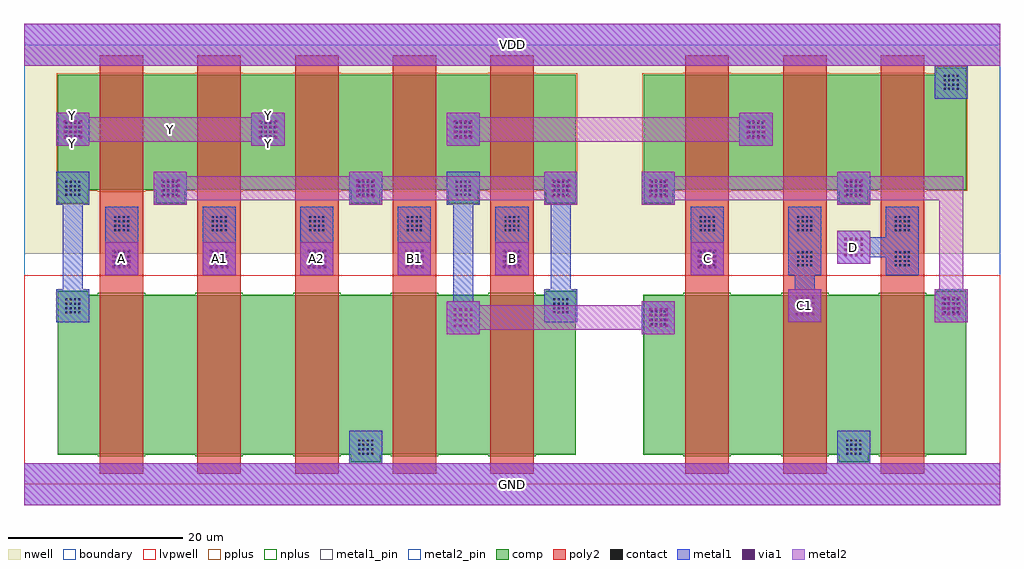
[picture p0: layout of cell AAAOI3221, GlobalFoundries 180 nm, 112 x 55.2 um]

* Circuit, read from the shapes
.subckt AAAOI3221 A A1 A2 B B1 C C1 D GND VDD Y
XM1 n1 A Y VSUBS nfet_03v3 w=18.3u l=5u
XM2 n2 A1 n1 VSUBS nfet_03v3 w=18.3u l=5u
XM3 GND A2 n2 VSUBS nfet_03v3 w=18.3u l=5u
XM4 n3 B1 GND VSUBS nfet_03v3 w=18.3u l=5u
XM5 n4 B n3 VSUBS nfet_03v3 w=18.3u l=5u
XM6 n5 C n6 VSUBS nfet_03v3 w=18.3u l=5u
XM7 GND C1 n5 VSUBS nfet_03v3 w=18.3u l=5u
XM8 n7 D GND VSUBS nfet_03v3 w=18.3u l=5u
XM9 n4 A Y n8 pfet_03v3 w=13.2u l=5u
XM10 Y A1 n4 n8 pfet_03v3 w=13.2u l=5u
XM11 n4 A2 Y n8 pfet_03v3 w=13.2u l=5u
XM12 n6 B1 n4 n8 pfet_03v3 w=13.2u l=5u
XM13 n4 B n6 n8 pfet_03v3 w=13.2u l=5u
XM14 n6 C n7 n8 pfet_03v3 w=13.2u l=5u
XM15 n7 C1 n6 n8 pfet_03v3 w=13.2u l=5u
XM16 VDD D n7 n8 pfet_03v3 w=13.2u l=5u
.ends

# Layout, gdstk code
import gdstk
lib = gdstk.Library(unit=1e-6, precision=1e-09)
def R(c, l, rs):  # rectangles x0, y0, x1, y1
    for r in rs: c.add(gdstk.rectangle(r[:2], r[2:], *l))
def A(c, l, x, y, w, h, nx, ny, dx, dy):  # array of equal rectangles
    R(c, l, [(x+i*dx, y+j*dy, x+i*dx+w, y+j*dy+h) for i in range(nx) for j in range(ny)])
boundary = (0, 0)
nwell = (21, 0)
comp = (22, 0)
poly2 = (30, 0)
pplus = (31, 0)
nplus = (32, 0)
contact = (33, 0)
metal1 = (34, 0)
metal1_pin = (34, 10)
via1 = (35, 0)
metal2 = (36, 0)
metal2_pin = (36, 10)
lvpwell = (204, 0)

aaaoi3221 = lib.new_cell('AAAOI3221')
R(aaaoi3221, boundary, [(0,0,112,50.4)])
R(aaaoi3221, nwell, [(0,26.45,112,50.4)])
A(aaaoi3221, comp, 37.5, 32.25, 3.4, 1.55, 4, 1, 11.2, 0)
R(aaaoi3221, comp, [(37.5,2.55,40.9,3.4), (93.5,2.55,96.9,3.4), (3.9,3.4,63.3,21.7), (71.1,3.4,108.1,21.7), (3.9,21.7,7.3,22.15), (59.9,21.7,63.3,22.15), (104.7,21.7,108.1,22.15), (3.9,32.25,7.3,33.8), (15.1,32.25,18.5,33.8), (93.5,32.25,96.9,33.8), (3.9,33.8,63.3,47), (71.1,33.8,108.1,47), (104.7,47,108.1,47.8)])
A(aaaoi3221, poly2, 8.7, 1.2, 5, 48, 5, 1, 11.2, 0)
A(aaaoi3221, poly2, 75.9, 1.2, 5, 48, 3, 1, 11.2, 0)
A(aaaoi3221, pplus, 37.34, 32.09, 3.72, 1.55, 4, 1, 11.2, 0)
A(aaaoi3221, pplus, 8.47, 33.57, 5.46, 0.07, 5, 2, 11.2, 13.59)
A(aaaoi3221, pplus, 75.67, 33.57, 5.46, 0.07, 3, 2, 11.2, 13.59)
R(aaaoi3221, pplus, [(3.74,32.09,7.46,33.64), (14.94,32.09,18.66,33.64), (93.34,32.09,97.06,33.64), (3.74,33.64,63.46,47.16), (70.94,33.64,108.26,47.16), (104.54,47.16,108.26,47.96)])
A(aaaoi3221, nplus, 8.47, 3.17, 5.46, 0.21, 5, 2, 11.2, 18.55)
A(aaaoi3221, nplus, 75.67, 3.17, 5.46, 0.21, 3, 2, 11.2, 18.55)
R(aaaoi3221, nplus, [(37.48,2.53,40.92,3.38), (93.48,2.53,96.92,3.38), (3.88,3.38,63.32,21.72), (71.08,3.38,108.12,21.72), (3.88,21.72,7.32,22.17), (59.88,21.72,63.32,22.17), (104.68,21.72,108.12,22.17)])
A(aaaoi3221, contact, 38.34, 3.39, 0.22, 0.22, 4, 4, 0.5, 0.5)
A(aaaoi3221, contact, 94.34, 3.39, 0.22, 0.22, 4, 4, 0.5, 0.5)
A(aaaoi3221, contact, 71.94, 18.24, 0.22, 0.22, 4, 4, 0.5, 0.5)
A(aaaoi3221, contact, 4.74, 19.59, 0.22, 0.22, 4, 4, 0.5, 0.5)
A(aaaoi3221, contact, 60.74, 19.59, 0.22, 0.22, 4, 4, 0.5, 0.5)
A(aaaoi3221, contact, 105.54, 19.59, 0.22, 0.22, 4, 4, 0.5, 0.5)
A(aaaoi3221, contact, 10.34, 24.99, 0.22, 0.22, 4, 4, 0.5, 0.5)
A(aaaoi3221, contact, 21.54, 24.99, 0.22, 0.22, 4, 4, 0.5, 0.5)
A(aaaoi3221, contact, 32.74, 24.99, 0.22, 0.22, 4, 4, 0.5, 0.5)
A(aaaoi3221, contact, 43.94, 24.99, 0.22, 0.22, 4, 4, 0.5, 0.5)
A(aaaoi3221, contact, 55.14, 24.99, 0.22, 0.22, 4, 4, 0.5, 0.5)
A(aaaoi3221, contact, 77.54, 24.99, 0.22, 0.22, 4, 4, 0.5, 0.5)
A(aaaoi3221, contact, 88.74, 24.99, 0.22, 0.22, 4, 4, 0.5, 0.5)
A(aaaoi3221, contact, 99.94, 24.99, 0.22, 0.22, 4, 4, 0.5, 0.5)
A(aaaoi3221, contact, 10.34, 29.04, 0.22, 0.22, 4, 4, 0.5, 0.5)
A(aaaoi3221, contact, 21.54, 29.04, 0.22, 0.22, 4, 4, 0.5, 0.5)
A(aaaoi3221, contact, 32.74, 29.04, 0.22, 0.22, 4, 4, 0.5, 0.5)
A(aaaoi3221, contact, 43.94, 29.04, 0.22, 0.22, 4, 4, 0.5, 0.5)
A(aaaoi3221, contact, 55.14, 29.04, 0.22, 0.22, 4, 4, 0.5, 0.5)
A(aaaoi3221, contact, 77.54, 29.04, 0.22, 0.22, 4, 4, 0.5, 0.5)
A(aaaoi3221, contact, 88.74, 29.04, 0.22, 0.22, 4, 4, 0.5, 0.5)
A(aaaoi3221, contact, 99.94, 29.04, 0.22, 0.22, 4, 4, 0.5, 0.5)
A(aaaoi3221, contact, 4.74, 33.09, 0.22, 0.22, 4, 4, 0.5, 0.5)
A(aaaoi3221, contact, 15.94, 33.09, 0.22, 0.22, 4, 4, 0.5, 0.5)
A(aaaoi3221, contact, 38.34, 33.09, 0.22, 0.22, 4, 4, 0.5, 0.5)
A(aaaoi3221, contact, 49.54, 33.09, 0.22, 0.22, 4, 4, 0.5, 0.5)
A(aaaoi3221, contact, 60.74, 33.09, 0.22, 0.22, 4, 4, 0.5, 0.5)
A(aaaoi3221, contact, 71.94, 33.09, 0.22, 0.22, 4, 4, 0.5, 0.5)
A(aaaoi3221, contact, 94.34, 33.09, 0.22, 0.22, 4, 4, 0.5, 0.5)
A(aaaoi3221, contact, 4.74, 39.84, 0.22, 0.22, 4, 4, 0.5, 0.5)
A(aaaoi3221, contact, 27.14, 39.84, 0.22, 0.22, 4, 4, 0.5, 0.5)
A(aaaoi3221, contact, 49.54, 39.84, 0.22, 0.22, 4, 4, 0.5, 0.5)
A(aaaoi3221, contact, 83.14, 39.84, 0.22, 0.22, 4, 4, 0.5, 0.5)
A(aaaoi3221, contact, 105.54, 45.24, 0.22, 0.22, 4, 4, 0.5, 0.5)
A(aaaoi3221, metal1, 9.3, 23.95, 3.8, 7.85, 5, 1, 11.2, 0)
A(aaaoi3221, metal1, 37.3, 32.05, 3.8, 3.8, 4, 1, 11.2, 0)
A(aaaoi3221, metal1, 3.7, 38.8, 3.8, 3.8, 3, 1, 22.4, 0)
R(aaaoi3221, metal1, [(0,-2.4,112,2.4), (37.3,2.4,41.1,6.15), (93.3,2.4,97.1,6.15), (48.5,17.2,52.3,21), (70.9,17.2,74.7,21), (3.7,18.55,7.5,22.35), (59.7,18.55,63.5,22.35), (87.7,18.55,91.5,22.35), (104.5,18.55,108.3,22.35), (49.25,21,51.55,32.05), (4.45,22.35,6.75,32.05), (60.45,22.35,62.75,32.05), (88.45,22.35,90.75,23.95), (76.5,23.95,80.3,31.8), (87.7,23.95,91.5,31.8), (98.9,23.95,102.7,26.05), (93.3,25.3,97.1,26.05), (93.3,26.05,102.7,28.35), (93.3,28.35,97.1,29.1), (98.9,28.35,102.7,31.8), (3.7,32.05,7.5,35.85), (14.9,32.05,18.7,35.85), (93.3,32.05,97.1,35.85), (82.1,38.8,85.9,42.6), (104.5,44.2,108.3,48), (0,48,112,52.8)])
R(aaaoi3221, metal1_pin, [(0,-2.4,112,2.4), (0,48,112,52.8)])
A(aaaoi3221, via1, 49.34, 18.04, 0.26, 0.26, 4, 4, 0.62, 0.62)
A(aaaoi3221, via1, 71.74, 18.04, 0.26, 0.26, 4, 4, 0.62, 0.62)
A(aaaoi3221, via1, 88.54, 19.39, 0.26, 0.26, 4, 4, 0.62, 0.62)
A(aaaoi3221, via1, 105.34, 19.39, 0.26, 0.26, 4, 4, 0.62, 0.62)
A(aaaoi3221, via1, 10.14, 24.79, 0.26, 0.26, 4, 4, 0.62, 0.62)
A(aaaoi3221, via1, 21.34, 24.79, 0.26, 0.26, 4, 4, 0.62, 0.62)
A(aaaoi3221, via1, 32.54, 24.79, 0.26, 0.26, 4, 4, 0.62, 0.62)
A(aaaoi3221, via1, 43.74, 24.79, 0.26, 0.26, 4, 4, 0.62, 0.62)
A(aaaoi3221, via1, 54.94, 24.79, 0.26, 0.26, 4, 4, 0.62, 0.62)
A(aaaoi3221, via1, 77.34, 24.79, 0.26, 0.26, 4, 4, 0.62, 0.62)
A(aaaoi3221, via1, 94.14, 26.14, 0.26, 0.26, 4, 4, 0.62, 0.62)
A(aaaoi3221, via1, 15.74, 32.89, 0.26, 0.26, 4, 4, 0.62, 0.62)
A(aaaoi3221, via1, 38.14, 32.89, 0.26, 0.26, 4, 4, 0.62, 0.62)
A(aaaoi3221, via1, 60.54, 32.89, 0.26, 0.26, 4, 4, 0.62, 0.62)
A(aaaoi3221, via1, 71.74, 32.89, 0.26, 0.26, 4, 4, 0.62, 0.62)
A(aaaoi3221, via1, 94.14, 32.89, 0.26, 0.26, 4, 4, 0.62, 0.62)
A(aaaoi3221, via1, 4.54, 39.64, 0.26, 0.26, 4, 4, 0.62, 0.62)
A(aaaoi3221, via1, 26.94, 39.64, 0.26, 0.26, 4, 4, 0.62, 0.62)
A(aaaoi3221, via1, 49.34, 39.64, 0.26, 0.26, 4, 4, 0.62, 0.62)
A(aaaoi3221, via1, 82.94, 39.64, 0.26, 0.26, 4, 4, 0.62, 0.62)
A(aaaoi3221, metal2, 9.3, 23.95, 3.8, 3.8, 5, 1, 11.2, 0)
A(aaaoi3221, metal2, 14.9, 32.05, 3.8, 0.5, 3, 2, 22.4, 3.3)
A(aaaoi3221, metal2, 3.7, 38.8, 3.8, 0.5, 3, 2, 22.4, 3.3)
R(aaaoi3221, metal2, [(0,-2.4,112,2.4), (48.5,17.2,52.3,17.7), (70.9,17.2,74.7,17.7), (48.5,17.7,74.7,20.5), (87.7,18.55,91.5,22.35), (104.5,18.55,108.3,22.35), (48.5,20.5,52.3,21), (70.9,20.5,74.7,21), (105,22.35,107.8,32.55), (76.5,23.95,80.3,27.75), (93.3,25.3,97.1,29.1), (70.9,32.05,74.7,32.55), (93.3,32.05,97.1,32.55), (14.9,32.55,63.5,35.35), (70.9,32.55,107.8,35.35), (70.9,35.35,74.7,35.85), (93.3,35.35,97.1,35.85), (82.1,38.8,85.9,39.3), (3.7,39.3,29.9,42.1), (48.5,39.3,85.9,42.1), (82.1,42.1,85.9,42.6), (0,48,112,52.8)])
A(aaaoi3221, metal2_pin, 9.3, 23.95, 3.8, 3.8, 5, 1, 11.2, 0)
R(aaaoi3221, metal2_pin, [(87.7,18.55,91.5,22.35), (76.5,23.95,80.3,27.75), (93.3,25.3,97.1,29.1), (3.7,38.8,7.5,39.3), (26.1,38.8,29.9,39.3), (3.7,39.3,29.9,42.1), (3.7,42.1,7.5,42.6), (26.1,42.1,29.9,42.6)])
R(aaaoi3221, lvpwell, [(0,0,112,23.95)])
aaaoi3221.add(gdstk.Label('VDD', (56,50.4), layer=34, texttype=10))
aaaoi3221.add(gdstk.Label('GND', (56,0), layer=34, texttype=10))
aaaoi3221.add(gdstk.Label('Y', (5.6,39.05), layer=36, texttype=10))
aaaoi3221.add(gdstk.Label('Y', (28,39.05), layer=36, texttype=10))
aaaoi3221.add(gdstk.Label('Y', (16.8,40.7), layer=36, texttype=10))
aaaoi3221.add(gdstk.Label('Y', (5.6,42.35), layer=36, texttype=10))
aaaoi3221.add(gdstk.Label('Y', (28,42.35), layer=36, texttype=10))
aaaoi3221.add(gdstk.Label('A1', (22.4,25.85), layer=36, texttype=10))
aaaoi3221.add(gdstk.Label('B1', (44.8,25.85), layer=36, texttype=10))
aaaoi3221.add(gdstk.Label('D', (95.2,27.2), layer=36, texttype=10))
aaaoi3221.add(gdstk.Label('A2', (33.6,25.85), layer=36, texttype=10))
aaaoi3221.add(gdstk.Label('B', (56,25.85), layer=36, texttype=10))
aaaoi3221.add(gdstk.Label('C', (78.4,25.85), layer=36, texttype=10))
aaaoi3221.add(gdstk.Label('C1', (89.6,20.45), layer=36, texttype=10))
aaaoi3221.add(gdstk.Label('A', (11.2,25.85), layer=36, texttype=10))

lib.write_gds('AAAOI3221.gds')
